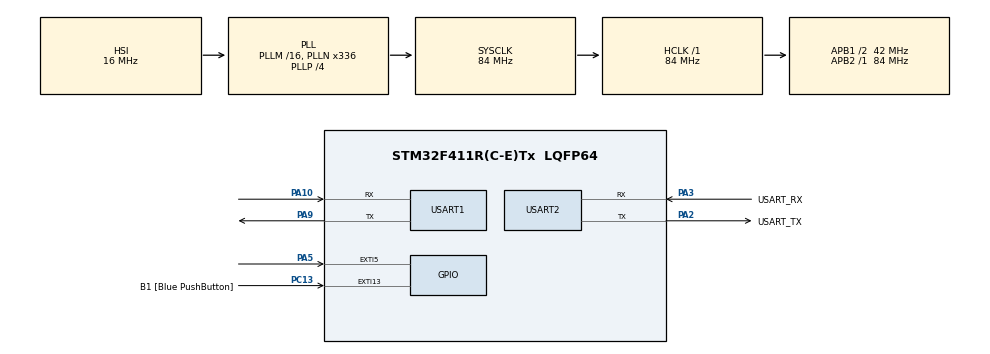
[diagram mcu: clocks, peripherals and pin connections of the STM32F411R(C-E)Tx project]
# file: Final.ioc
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Mcu.Family=STM32F4
Mcu.Name=STM32F411R(C-E)Tx
Mcu.Package=LQFP64
NVIC.EXTI15_10_IRQn=true\:0\:0\:false\:false\:true\:true\:true\:true
NVIC.PriorityGroup=NVIC_PRIORITYGROUP_0
PA10.Mode=Asynchronous
PA10.Signal=USART1_RX
PA13.GPIO_Label=TMS
PA13.Mode=Serial_Wire
PA13.Signal=SYS_JTMS-SWDIO
PA14.GPIO_Label=TCK
PA14.Mode=Serial_Wire
PA14.Signal=SYS_JTCK-SWCLK
PA2.GPIO_Label=USART_TX
PA2.Mode=Asynchronous
PA2.Signal=USART2_TX
PA3.GPIO_Label=USART_RX
PA3.Mode=Asynchronous
PA3.Signal=USART2_RX
PA5.Signal=GPXTI5
PA9.Mode=Asynchronous
PA9.Signal=USART1_TX
PB3.GPIO_Label=SWO
PB3.Signal=SYS_JTDO-SWO
PC13-ANTI_TAMP.GPIO_Label=B1 [Blue PushButton]
PC13-ANTI_TAMP.GPIO_ModeDefaultEXTI=GPIO_MODE_IT_FALLING
PC13-ANTI_TAMP.Signal=GPXTI13
PC14-OSC32_IN.Mode=LSE-External-Oscillator
PC14-OSC32_IN.Signal=RCC_OSC32_IN
PC15-OSC32_OUT.Mode=LSE-External-Oscillator
PC15-OSC32_OUT.Signal=RCC_OSC32_OUT
PH0\ -\ OSC_IN.Mode=HSE-External-Clock-Source
PH0\ -\ OSC_IN.Signal=RCC_OSC_IN
PH1\ -\ OSC_OUT.Mode=HSE-External-Clock-Source
PH1\ -\ OSC_OUT.Signal=RCC_OSC_OUT
ProjectManager.HeapSize=0x200
ProjectManager.StackSize=0x400
ProjectManager.TargetToolchain=STM32CubeIDE
RCC.48MHZClocksFreq_Value=84000000
RCC.AHBFreq_Value=84000000
RCC.APB1CLKDivider=RCC_HCLK_DIV2
RCC.APB1Freq_Value=42000000
RCC.APB1TimFreq_Value=84000000
RCC.APB2Freq_Value=84000000
RCC.APB2TimFreq_Value=84000000
RCC.CortexFreq_Value=84000000
RCC.FLatency-AdvancedSettings=FLASH_LATENCY_2
RCC.HCLKFreq_Value=84000000
RCC.HSE_VALUE=8000000
RCC.HSI_VALUE=16000000
RCC.PLLN=336
RCC.PLLP=RCC_PLLP_DIV4
RCC.SYSCLKFreq_VALUE=84000000
RCC.SYSCLKSource=RCC_SYSCLKSOURCE_PLLCLK
RCC.VCOOutputFreq_Value=336000000
USART1.VirtualMode=VM_ASYNC
USART2.VirtualMode=VM_ASYNC
board=NUCLEO-F411RE

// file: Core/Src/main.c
/* USER CODE BEGIN Header */
/**
  ******************************************************************************
  * @file           : main.c
  * @brief          : Main program body
  ******************************************************************************
  * @attention
  *
  * Copyright (c) 2026 STMicroelectronics.
  * All rights reserved.
  *
  * This software is licensed under terms that can be found in the LICENSE file
  * in the root directory of this software component.
  * If no LICENSE file comes with this software, it is provided AS-IS.
  *
  ******************************************************************************
  */
/* USER CODE END Header */
#include "main.h"

/* USER CODE BEGIN Includes */
#include <string.h>
#include <stdbool.h>

/* USER CODE END Includes */

UART_HandleTypeDef huart1;
UART_HandleTypeDef huart2;

/* USER CODE BEGIN PV */
#define RX_BUFFER_SIZE 128

uint8_t pc_rx_byte;                     // ตัวแปรรับข้อมูลทีละ 1 byte จาก PC
uint8_t pc_rx_buffer[RX_BUFFER_SIZE];   // Buffer เก็บข้อความที่พิมพ์
uint16_t pc_rx_index = 0;               // ตำแหน่งปัจจุบันใน Buffer

volatile bool btn_pressed_flag = false; // Flag แจ้งเตือนเมื่อกดปุ่ม
uint32_t last_debounce_time = 0;        // ตัวแปรป้องกันปุ่มเด้ง (Debounce)

/* USER CODE END PV */

void SystemClock_Config(void);
static void MX_GPIO_Init(void);
static void MX_USART2_UART_Init(void);
static void MX_USART1_UART_Init(void);

int main(void)
{

  /* MCU Configuration--------------------------------------------------------*/

  /* Reset of all peripherals, Initializes the Flash interface and the Systick. */
  HAL_Init();

  /* Configure the system clock */
  SystemClock_Config();

  /* Initialize all configured peripherals */
  MX_GPIO_Init();
  MX_USART2_UART_Init();
  MX_USART1_UART_Init();
  /* USER CODE BEGIN 2 */
  // เริ่มรอรับข้อมูลจากคีย์บอร์ด (UART2) ทีละ 1 ตัวอักษรแบบ Interrupt
    HAL_UART_Receive_IT(&huart2, &pc_rx_byte, 1);

  /* USER CODE END 2 */

  /* Infinite loop */
  /* USER CODE BEGIN WHILE */
  while (1)
  {
	  // ตรวจสอบว่ามีการกดปุ่ม User Button หรือไม่
	      if (btn_pressed_flag)
	      {
	        btn_pressed_flag = false; // เคลียร์สถานะปุ่ม
	        char *btn_msg = "push button !\r\n";

	        // ส่งข้อความไปยัง ESP8266 (UART1)
	        HAL_UART_Transmit(&huart1, (uint8_t*)btn_msg, strlen(btn_msg), 100);

	        // (Optional) ส่งข้อความแจ้งเตือนกลับไปที่หน้าจอ PC ด้วยเพื่อดูสถานะ
	        HAL_UART_Transmit(&huart2, (uint8_t*)"Sent: push button !\r\n", 21, 100);
    /* USER CODE END WHILE */

  }
}

void SystemClock_Config(void)
{
  RCC_OscInitTypeDef RCC_OscInitStruct = {0};
  RCC_ClkInitTypeDef RCC_ClkInitStruct = {0};

  /** Configure the main internal regulator output voltage
  */
  __HAL_RCC_PWR_CLK_ENABLE();
  __HAL_PWR_VOLTAGESCALING_CONFIG(PWR_REGULATOR_VOLTAGE_SCALE1);

  /** Initializes the RCC Oscillators according to the specified parameters
  * in the RCC_OscInitTypeDef structure.
  */
  RCC_OscInitStruct.OscillatorType = RCC_OSCILLATORTYPE_HSI;
  RCC_OscInitStruct.HSIState = RCC_HSI_ON;
  RCC_OscInitStruct.HSICalibrationValue = RCC_HSICALIBRATION_DEFAULT;
  RCC_OscInitStruct.PLL.PLLState = RCC_PLL_ON;
  RCC_OscInitStruct.PLL.PLLSource = RCC_PLLSOURCE_HSI;
  RCC_OscInitStruct.PLL.PLLM = 16;
  RCC_OscInitStruct.PLL.PLLN = 336;
  RCC_OscInitStruct.PLL.PLLP = RCC_PLLP_DIV4;
  RCC_OscInitStruct.PLL.PLLQ = 4;
  if (HAL_RCC_OscConfig(&RCC_OscInitStruct) != HAL_OK)
  {
    Error_Handler();
  }

  /** Initializes the CPU, AHB and APB buses clocks
  */
  RCC_ClkInitStruct.ClockType = RCC_CLOCKTYPE_HCLK|RCC_CLOCKTYPE_SYSCLK
                              |RCC_CLOCKTYPE_PCLK1|RCC_CLOCKTYPE_PCLK2;
  RCC_ClkInitStruct.SYSCLKSource = RCC_SYSCLKSOURCE_PLLCLK;
  RCC_ClkInitStruct.AHBCLKDivider = RCC_SYSCLK_DIV1;
  RCC_ClkInitStruct.APB1CLKDivider = RCC_HCLK_DIV2;
  RCC_ClkInitStruct.APB2CLKDivider = RCC_HCLK_DIV1;

  if (HAL_RCC_ClockConfig(&RCC_ClkInitStruct, FLASH_LATENCY_2) != HAL_OK)
  {
    Error_Handler();
  }
}

static void MX_USART1_UART_Init(void)
{

  huart1.Instance = USART1;
  huart1.Init.BaudRate = 115200;
  huart1.Init.WordLength = UART_WORDLENGTH_8B;
  huart1.Init.StopBits = UART_STOPBITS_1;
  huart1.Init.Parity = UART_PARITY_NONE;
  huart1.Init.Mode = UART_MODE_TX_RX;
  huart1.Init.HwFlowCtl = UART_HWCONTROL_NONE;
  huart1.Init.OverSampling = UART_OVERSAMPLING_16;
  if (HAL_UART_Init(&huart1) != HAL_OK)
  {
    Error_Handler();
  }

}

static void MX_USART2_UART_Init(void)
{

  huart2.Instance = USART2;
  huart2.Init.BaudRate = 115200;
  huart2.Init.WordLength = UART_WORDLENGTH_8B;
  huart2.Init.StopBits = UART_STOPBITS_1;
  huart2.Init.Parity = UART_PARITY_NONE;
  huart2.Init.Mode = UART_MODE_TX_RX;
  huart2.Init.HwFlowCtl = UART_HWCONTROL_NONE;
  huart2.Init.OverSampling = UART_OVERSAMPLING_16;
  if (HAL_UART_Init(&huart2) != HAL_OK)
  {
    Error_Handler();
  }

}

static void MX_GPIO_Init(void)
{
  GPIO_InitTypeDef GPIO_InitStruct = {0};

  /* GPIO Ports Clock Enable */
  __HAL_RCC_GPIOC_CLK_ENABLE();
  __HAL_RCC_GPIOH_CLK_ENABLE();
  __HAL_RCC_GPIOA_CLK_ENABLE();
  __HAL_RCC_GPIOB_CLK_ENABLE();

  /*Configure GPIO pin : B1_Pin */
  GPIO_InitStruct.Pin = B1_Pin;
  GPIO_InitStruct.Mode = GPIO_MODE_IT_FALLING;
  GPIO_InitStruct.Pull = GPIO_NOPULL;
  HAL_GPIO_Init(B1_GPIO_Port, &GPIO_InitStruct);

  /*Configure GPIO pin : PA5 */
  GPIO_InitStruct.Pin = GPIO_PIN_5;
  GPIO_InitStruct.Mode = GPIO_MODE_IT_RISING;
  GPIO_InitStruct.Pull = GPIO_NOPULL;
  HAL_GPIO_Init(GPIOA, &GPIO_InitStruct);

  /* EXTI interrupt init*/
  HAL_NVIC_SetPriority(EXTI15_10_IRQn, 0, 0);
  HAL_NVIC_EnableIRQ(EXTI15_10_IRQn);

}

/* USER CODE BEGIN 4 */
/* USER CODE BEGIN 4 */

void HAL_UART_RxCpltCallback(UART_HandleTypeDef *huart)
{
  // ตรวจสอบว่าเป็นข้อมูลที่มาจาก PC (UART2)
  if (huart->Instance == USART2)
  {
    // Echo ตัวอักษรกลับไปแสดงบนหน้าจอคอมพิวเตอร์ (จะได้เห็นสิ่งที่ตัวเองพิมพ์)
    HAL_UART_Transmit(&huart2, &pc_rx_byte, 1, 10);

    // ตรวจสอบว่ากดปุ่ม Enter (\r หรือ \n) หรือไม่
    if (pc_rx_byte == '\r' || pc_rx_byte == '\n')
    {
      if (pc_rx_index > 0) // ป้องกันการส่งข้อความว่างเปล่า
      {
        pc_rx_buffer[pc_rx_index] = '\r';
        pc_rx_buffer[pc_rx_index + 1] = '\n';

        // ส่งข้อความทั้งหมดที่พิมพ์ไปให้ ESP8266 (UART1)
        HAL_UART_Transmit(&huart1, pc_rx_buffer, pc_rx_index + 2, 100);

        // ขึ้นบรรทัดใหม่บนหน้าจอ PC
        HAL_UART_Transmit(&huart2, (uint8_t*)"\n", 1, 10);

        // รีเซ็ต index เพื่อรอรับข้อความใหม่
        pc_rx_index = 0;
      }
    }
    else
    {
      // เก็บตัวอักษรลง Buffer ถ้ายังไม่เต็ม
      if (pc_rx_index < RX_BUFFER_SIZE - 3)
      {
        pc_rx_buffer[pc_rx_index++] = pc_rx_byte;
      }
    }

    // เปิดรับข้อมูลตัวถัดไปจาก PC ต่อทันที
    HAL_UART_Receive_IT(&huart2, &pc_rx_byte, 1);
  }
}

// 2. Callback เมื่อเกิด Interrupt จากการกดปุ่ม (EXTI)
void HAL_GPIO_EXTI_Callback(uint16_t GPIO_Pin)
{
  // ตรวจสอบว่ามาจากขา User Button (เช่น GPIO_PIN_13)
  if (GPIO_Pin == GPIO_PIN_13)
  {
    // ทำ Software Debounce ป้องกันการส่งข้อความเบิ้ลจากการกด 1 ครั้ง (หน่วง 200ms)
    uint32_t current_time = HAL_GetTick();
    if ((current_time - last_debounce_time) > 200)
    {
      btn_pressed_flag = true; // ตั้ง Flag เพื่อไปส่งข้อมูลใน main loop
      last_debounce_time = current_time;
    }
  }
}

/* USER CODE END 4 */

void Error_Handler(void)
{
  __disable_irq();
  while (1)
  {
  }
}
